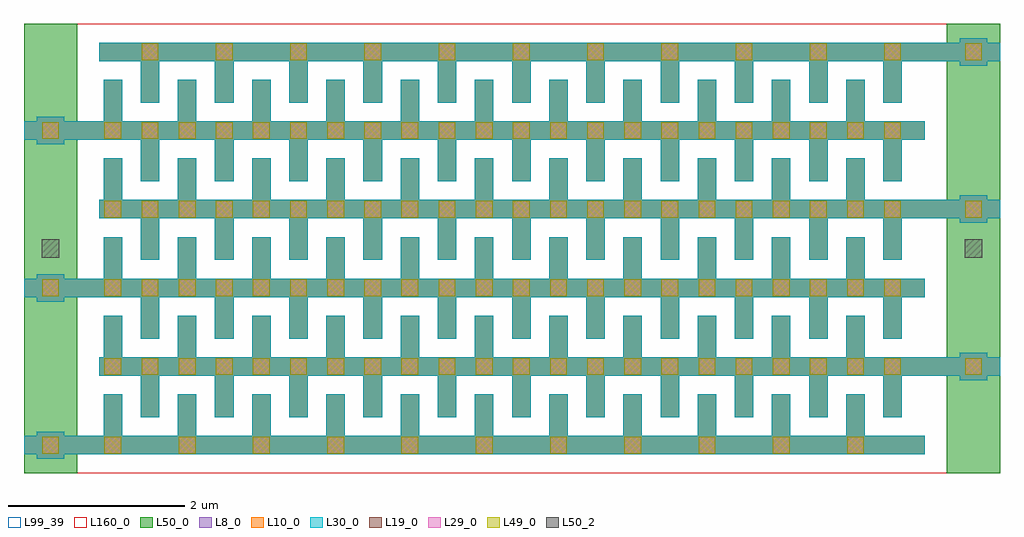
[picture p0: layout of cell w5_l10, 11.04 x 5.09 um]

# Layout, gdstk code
import gdstk
lib = gdstk.Library(unit=1e-6, precision=1e-09)
def R(c, l, rs):  # rectangles x0, y0, x1, y1
    for r in rs: c.add(gdstk.rectangle(r[:2], r[2:], *l))
def A(c, l, x, y, w, h, nx, ny, dx, dy):  # array of equal rectangles
    R(c, l, [(x+i*dx, y+j*dy, x+i*dx+w, y+j*dy+h) for i in range(nx) for j in range(ny)])
L8_0 = (8, 0)
L10_0 = (10, 0)
L19_0 = (19, 0)
L29_0 = (29, 0)
L30_0 = (30, 0)
L49_0 = (49, 0)
L50_0 = (50, 0)
L50_2 = (50, 2)
L99_39 = (99, 39)
L160_0 = (160, 0)

w5_l10 = lib.new_cell('w5_l10')
A(w5_l10, L8_0, -0.755, -0.155, 0.31, 0.31, 1, 3, 0, 1.78)
A(w5_l10, L8_0, -0.9, -0.105, 10.19, 0.21, 1, 3, 0, 1.78)
A(w5_l10, L8_0, 0, 0, 0.21, 0.575, 11, 5, 0.84, 0.89)
A(w5_l10, L8_0, 0.42, 0.315, 0.21, 0.575, 11, 5, 0.84, 0.89)
A(w5_l10, L8_0, 9.685, 0.735, 0.31, 0.31, 1, 3, 0, 1.78)
A(w5_l10, L8_0, -0.05, 0.785, 10.19, 0.21, 1, 3, 0, 1.78)
A(w5_l10, L10_0, -0.755, -0.155, 0.31, 0.31, 1, 3, 0, 1.78)
A(w5_l10, L10_0, -0.9, -0.105, 10.19, 0.21, 1, 3, 0, 1.78)
A(w5_l10, L10_0, 0, 0, 0.21, 0.575, 11, 5, 0.84, 0.89)
A(w5_l10, L10_0, 0.42, 0.315, 0.21, 0.575, 11, 5, 0.84, 0.89)
A(w5_l10, L10_0, 9.685, 0.735, 0.31, 0.31, 1, 3, 0, 1.78)
A(w5_l10, L10_0, -0.05, 0.785, 10.19, 0.21, 1, 3, 0, 1.78)
A(w5_l10, L19_0, -0.695, -0.095, 0.19, 0.19, 1, 3, 0, 1.78)
A(w5_l10, L19_0, 0.01, -0.095, 0.19, 0.19, 11, 1, 0.84, 0)
A(w5_l10, L19_0, 0.01, 0.795, 0.19, 0.19, 22, 4, 0.42, 0.89)
A(w5_l10, L19_0, 9.745, 0.795, 0.19, 0.19, 1, 3, 0, 1.78)
A(w5_l10, L19_0, 0.43, 4.355, 0.19, 0.19, 11, 1, 0.84, 0)
A(w5_l10, L29_0, -0.695, -0.095, 0.19, 0.19, 1, 3, 0, 1.78)
A(w5_l10, L29_0, 0.01, -0.095, 0.19, 0.19, 11, 1, 0.84, 0)
A(w5_l10, L29_0, 0.01, 0.795, 0.19, 0.19, 22, 4, 0.42, 0.89)
A(w5_l10, L29_0, 9.745, 0.795, 0.19, 0.19, 1, 3, 0, 1.78)
A(w5_l10, L29_0, 0.43, 4.355, 0.19, 0.19, 11, 1, 0.84, 0)
A(w5_l10, L30_0, -0.755, -0.155, 0.31, 0.31, 1, 3, 0, 1.78)
A(w5_l10, L30_0, -0.9, -0.105, 10.19, 0.21, 1, 3, 0, 1.78)
A(w5_l10, L30_0, 0, 0, 0.21, 0.575, 11, 5, 0.84, 0.89)
A(w5_l10, L30_0, 0.42, 0.315, 0.21, 0.575, 11, 5, 0.84, 0.89)
A(w5_l10, L30_0, 9.685, 0.735, 0.31, 0.31, 1, 3, 0, 1.78)
A(w5_l10, L30_0, -0.05, 0.785, 10.19, 0.21, 1, 3, 0, 1.78)
A(w5_l10, L49_0, -0.695, -0.095, 0.19, 0.19, 1, 3, 0, 1.78)
A(w5_l10, L49_0, 0.01, -0.095, 0.19, 0.19, 11, 1, 0.84, 0)
A(w5_l10, L49_0, 0.01, 0.795, 0.19, 0.19, 22, 4, 0.42, 0.89)
A(w5_l10, L49_0, 9.745, 0.795, 0.19, 0.19, 1, 3, 0, 1.78)
A(w5_l10, L49_0, 0.43, 4.355, 0.19, 0.19, 11, 1, 0.84, 0)
A(w5_l10, L50_0, -0.9, -0.105, 10.19, 0.21, 1, 3, 0, 1.78)
A(w5_l10, L50_0, 0, 0, 0.21, 0.575, 11, 5, 0.84, 0.89)
A(w5_l10, L50_0, 0.42, 0.315, 0.21, 0.575, 11, 5, 0.84, 0.89)
A(w5_l10, L50_0, -0.05, 0.785, 10.19, 0.21, 1, 3, 0, 1.78)
R(w5_l10, L50_0, [(-0.9,-0.32,-0.3,4.77), (9.54,-0.32,10.14,4.77)])
R(w5_l10, L50_2, [(-0.7,2.12,-0.5,2.33), (9.74,2.12,9.94,2.33)])
R(w5_l10, L99_39, [(-0.9,-0.32,10.14,4.77)])
R(w5_l10, L160_0, [(-0.9,-0.32,10.14,4.77)])
w5_l10.add(gdstk.Label('cap_cmomi C=35.855fF', (-0.9,-0.82), layer=63, texttype=0))

lib.write_gds('w5_l10.gds')
